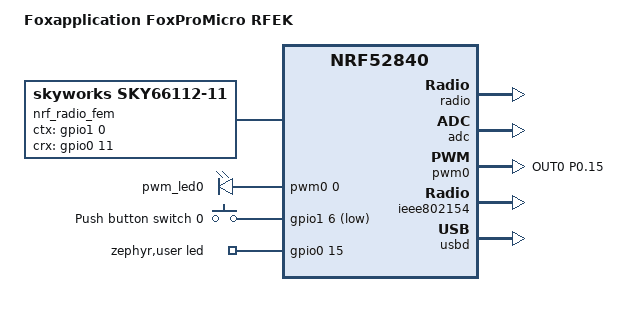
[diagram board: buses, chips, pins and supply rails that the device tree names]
// Copyright (c) 2024 Nordic Semiconductor ASA
// SPDX-License-Identifier: Apache-2.0

/dts-v1/;
#include <nordic/nrf52840_qiaa.dtsi>
#include <zephyr/dt-bindings/input/input-event-codes.h>

&pinctrl {
	pwm0_default: pwm0_default {
		group1 {
			psels = <NRF_PSEL(PWM_OUT0, 0, 15)>;
			nordic,drive-mode = <NRF_DRIVE_D0S1>;
		};
	};

	pwm0_sleep: pwm0_sleep {
		group1 {
			psels = <NRF_PSEL(PWM_OUT0, 0, 15)>;
			low-power-enable;
		};
	};
};

/ {
	model = "Foxapplication FoxProMicro RFEK";
	compatible = "foxpromicro_rfek_uf2";

	chosen {
		zephyr,console = &cdc_acm_uart;
		zephyr,shell-uart = &cdc_acm_uart;
		zephyr,sram = &sram0;
		zephyr,flash = &flash0;
		zephyr,ieee802154 = &ieee802154;
	};

	nrf_radio_fem: skyFem {
		compatible = "skyworks,sky66112-11", "generic-fem-two-ctrl-pins";
		ctx-gpios = <&gpio1 0 GPIO_ACTIVE_HIGH>;
		ctx-settle-time-us = <23>;
		crx-gpios = <&gpio0 11 GPIO_ACTIVE_HIGH>;
		crx-settle-time-us = <8>;
		tx-gain-db = <22>;
		rx-gain-db = <12>;
	};


	pwmleds {
		compatible = "pwm-leds";
		pwm_led0: pwm_led_0 {
			pwms = <&pwm0 0 PWM_MSEC(1) PWM_POLARITY_NORMAL>;
		};
	};

	buttons {
		compatible = "gpio-keys";
		button0: button_0 {
			gpios = <&gpio1 6 (GPIO_PULL_UP | GPIO_ACTIVE_LOW)>;
			label = "Push button switch 0";
		};
	};

	aliases {
		sw0 = &button0;
		pwm-led0 = &pwm_led0;
	};

	zephyr,user {
		led-gpios = <&gpio0 15 GPIO_OPEN_SOURCE>;
	};
};

&reg1 {
	regulator-initial-mode = <NRF5X_REG_MODE_DCDC>;
};

&radio {
	fem = <&nrf_radio_fem>;
};

&adc {
	status = "okay";
};

&gpio0 {
	status = "okay";
};

&gpio1 {
	status = "okay";
};

&gpiote {
	status = "okay";
};

&uicr {
	nfct-pins-as-gpios;
	gpio-as-nreset;
};

&pwm0 {
	status = "okay";
	pinctrl-0 = <&pwm0_default>;
	pinctrl-1 = <&pwm0_sleep>;
	pinctrl-names = "default", "sleep";
};

&ieee802154 {
	status = "okay";
};

zephyr_udc0: &usbd {
	compatible = "nordic,nrf-usbd";
	status = "okay";
	cdc_acm_uart: cdc_acm_uart {
		compatible = "zephyr,cdc-acm-uart";
	};
};

&cryptocell {
	status = "disabled";
};

&nfct {
	status = "disabled";
};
